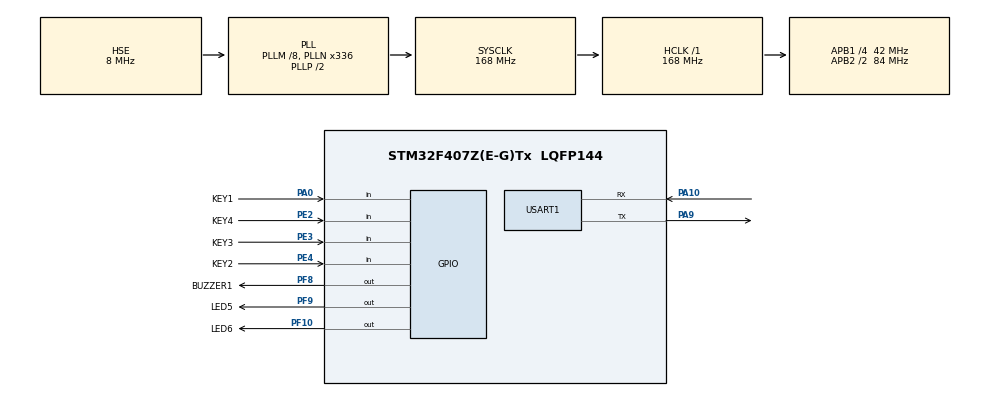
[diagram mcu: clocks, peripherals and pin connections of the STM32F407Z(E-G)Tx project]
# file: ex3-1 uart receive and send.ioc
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Mcu.Family=STM32F4
Mcu.Name=STM32F407Z(E-G)Tx
Mcu.Package=LQFP144
NVIC.PriorityGroup=NVIC_PRIORITYGROUP_4
PA0-WKUP.GPIO_Label=KEY1
PA0-WKUP.Signal=GPIO_Input
PA10.GPIO_Speed=GPIO_SPEED_FREQ_LOW
PA10.Mode=Asynchronous
PA10.Signal=USART1_RX
PA9.GPIO_Speed=GPIO_SPEED_FREQ_LOW
PA9.Mode=Asynchronous
PA9.Signal=USART1_TX
PC14-OSC32_IN.Mode=LSE-External-Oscillator
PC14-OSC32_IN.Signal=RCC_OSC32_IN
PC15-OSC32_OUT.Mode=LSE-External-Oscillator
PC15-OSC32_OUT.Signal=RCC_OSC32_OUT
PE2.GPIO_Label=KEY4
PE2.Signal=GPIO_Input
PE3.GPIO_Label=KEY3
PE3.Signal=GPIO_Input
PE4.GPIO_Label=KEY2
PE4.Signal=GPIO_Input
PF10.GPIO_Label=LED6
PF10.PinState=GPIO_PIN_SET
PF10.Signal=GPIO_Output
PF8.GPIO_Label=BUZZER1
PF8.PinState=GPIO_PIN_RESET
PF8.Signal=GPIO_Output
PF9.GPIO_Label=LED5
PF9.PinState=GPIO_PIN_SET
PF9.Signal=GPIO_Output
PH0-OSC_IN.Mode=HSE-External-Oscillator
PH0-OSC_IN.Signal=RCC_OSC_IN
PH1-OSC_OUT.Mode=HSE-External-Oscillator
PH1-OSC_OUT.Signal=RCC_OSC_OUT
ProjectManager.HeapSize=0x200
ProjectManager.StackSize=0x400
ProjectManager.TargetToolchain=MDK-ARM V5
RCC.48MHZClocksFreq_Value=84000000
RCC.AHBFreq_Value=168000000
RCC.APB1CLKDivider=RCC_HCLK_DIV4
RCC.APB1Freq_Value=42000000
RCC.APB1TimFreq_Value=84000000
RCC.APB2CLKDivider=RCC_HCLK_DIV2
RCC.APB2Freq_Value=84000000
RCC.APB2TimFreq_Value=168000000
RCC.CortexFreq_Value=21000000
RCC.Cortex_Div=SYSTICK_CLKSOURCE_HCLK_DIV8
RCC.FLatency=FLASH_LATENCY_5
RCC.HCLKFreq_Value=168000000
RCC.HSE_VALUE=8000000
RCC.HSI_VALUE=16000000
RCC.PLLM=8
RCC.PLLN=336
RCC.PLLSourceVirtual=RCC_PLLSOURCE_HSE
RCC.SYSCLKFreq_VALUE=168000000
RCC.SYSCLKSource=RCC_SYSCLKSOURCE_PLLCLK
RCC.VCOOutputFreq_Value=336000000
board=ex3-1 uart receive and send

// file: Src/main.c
/**
  ******************************************************************************
  * File Name          : main.c
  * Description        : Main program body
  ******************************************************************************
  *
  * COPYRIGHT(c) 2016 STMicroelectronics
  *
  * Redistribution and use in source and binary forms, with or without modification,
  * are permitted provided that the following conditions are met:
  *   1. Redistributions of source code must retain the above copyright notice,
  *      this list of conditions and the following disclaimer.
  *   2. Redistributions in binary form must reproduce the above copyright notice,
  *      this list of conditions and the following disclaimer in the documentation
  *      and/or other materials provided with the distribution.
  *   3. Neither the name of STMicroelectronics nor the names of its contributors
  *      may be used to endorse or promote products derived from this software
  *      without specific prior written permission.
  *
  * THIS SOFTWARE IS PROVIDED BY THE COPYRIGHT HOLDERS AND CONTRIBUTORS "AS IS"
  * AND ANY EXPRESS OR IMPLIED WARRANTIES, INCLUDING, BUT NOT LIMITED TO, THE
  * IMPLIED WARRANTIES OF MERCHANTABILITY AND FITNESS FOR A PARTICULAR PURPOSE ARE
  * DISCLAIMED. IN NO EVENT SHALL THE COPYRIGHT HOLDER OR CONTRIBUTORS BE LIABLE
  * FOR ANY DIRECT, INDIRECT, INCIDENTAL, SPECIAL, EXEMPLARY, OR CONSEQUENTIAL
  * DAMAGES (INCLUDING, BUT NOT LIMITED TO, PROCUREMENT OF SUBSTITUTE GOODS OR
  * SERVICES; LOSS OF USE, DATA, OR PROFITS; OR BUSINESS INTERRUPTION) HOWEVER
  * CAUSED AND ON ANY THEORY OF LIABILITY, WHETHER IN CONTRACT, STRICT LIABILITY,
  * OR TORT (INCLUDING NEGLIGENCE OR OTHERWISE) ARISING IN ANY WAY OUT OF THE USE
  * OF THIS SOFTWARE, EVEN IF ADVISED OF THE POSSIBILITY OF SUCH DAMAGE.
  *
  ******************************************************************************
  */
#include "main.h"
#include "stm32f4xx_hal.h"
#include "usart.h"
#include "gpio.h"

/* USER CODE BEGIN Includes */
/*****************************************************************************
@File name:
@Description: uart1接口将PC接收到的数据再通过uart发回给pc
@Author: Harry Wu
@Version: V1.2
@Date: 2016-11-15
@History:
		V1.0: 用轮询方式收发数据,按键没法起作用.
		V1.1: printf重定向到uart1,可以使用printf了.目前只能一次接收一个字符.
		V1.2: 用数组保存数据,数组设为最大接收200字节, 回发上位机时根据接收到的数据长度,来决定输出多少字节数据.

*****************************************************************************/
#include "MyTypeDef.h"
#include "key.h"
#include "led.h"
#include "usart.h"
/* USER CODE END Includes */

/* USER CODE BEGIN PV */
/* Private variables ---------------------------------------------------------*/

/* USER CODE END PV */

void SystemClock_Config(void);
void Error_Handler(void);

/* USER CODE BEGIN PFP */
/* Private function prototypes -----------------------------------------------*/

/* USER CODE END PFP */

int main(void)
{

  /* USER CODE BEGIN 1 */
	u8 key;
	#define USART_REC_LEN  			200  	//定义最大接收字节数 200
	u8 rec_data_buf[USART_REC_LEN];
	//u8 buff[10];
	//硬件初始化
  /* USER CODE END 1 */

  /* MCU Configuration----------------------------------------------------------*/

  /* Reset of all peripherals, Initializes the Flash interface and the Systick. */
  HAL_Init();

  /* Configure the system clock */
  SystemClock_Config();

  /* Initialize all configured peripherals */
  MX_GPIO_Init();
  MX_USART1_UART_Init();

  /* Infinite loop */
  /* USER CODE BEGIN WHILE */
  while (1)
  {
	key = key_scanf();
	if(key == KEY1_OK) LED5 = !LED5;
	else if(key == KEY2_OK) LED6 = !LED6;
	else if(key == KEY3_OK) BUZZER1 = !BUZZER1;

	HAL_UART_StateTypeDef huart1_state;
	while(__HAL_UART_GET_FLAG(&huart1, UART_FLAG_RXNE)==RESET);  //等待收到数据
	//while(USART_GetFlagStatus(USART1,USART_FLAG_RXNE)==RESET);   //等待收到数据
	HAL_UART_Receive(&huart1,rec_data_buf,USART_REC_LEN,100);  //收到的数据放到rec_data中

	//rec_data=USART_ReceiveData (USART1); //读取数据
	while(__HAL_UART_GET_FLAG(&huart1, UART_FLAG_TC)==RESET);  //等待上次发送完毕
	//while(USART_GetFlagStatus(USART1,USART_FLAG_TXE)==RESET); //等待上次发送完毕
	//printf("\r\nThe message you send is:\r\n");
	printf("\r\n您发送的消息为:\r\n");
	HAL_UART_Transmit(&huart1,rec_data_buf,huart1.RxXferSize-huart1.RxXferCount-1,100);      //发送数据, huart1.RxXferSize-huart1.RxXferCount-1, 根据接收到的数据长度,来决定输出多少字节数据

  /* USER CODE END WHILE */

  }

}

/** System Clock Configuration
*/
void SystemClock_Config(void)
{

  RCC_OscInitTypeDef RCC_OscInitStruct;
  RCC_ClkInitTypeDef RCC_ClkInitStruct;

    /**Configure the main internal regulator output voltage
    */
  __HAL_RCC_PWR_CLK_ENABLE();

  __HAL_PWR_VOLTAGESCALING_CONFIG(PWR_REGULATOR_VOLTAGE_SCALE1);

    /**Initializes the CPU, AHB and APB busses clocks
    */
  RCC_OscInitStruct.OscillatorType = RCC_OSCILLATORTYPE_HSE;
  RCC_OscInitStruct.HSEState = RCC_HSE_ON;
  RCC_OscInitStruct.PLL.PLLState = RCC_PLL_ON;
  RCC_OscInitStruct.PLL.PLLSource = RCC_PLLSOURCE_HSE;
  RCC_OscInitStruct.PLL.PLLM = 8;
  RCC_OscInitStruct.PLL.PLLN = 336;
  RCC_OscInitStruct.PLL.PLLP = RCC_PLLP_DIV2;
  RCC_OscInitStruct.PLL.PLLQ = 4;
  if (HAL_RCC_OscConfig(&RCC_OscInitStruct) != HAL_OK)
  {
    Error_Handler();
  }

    /**Initializes the CPU, AHB and APB busses clocks
    */
  RCC_ClkInitStruct.ClockType = RCC_CLOCKTYPE_HCLK|RCC_CLOCKTYPE_SYSCLK
                              |RCC_CLOCKTYPE_PCLK1|RCC_CLOCKTYPE_PCLK2;
  RCC_ClkInitStruct.SYSCLKSource = RCC_SYSCLKSOURCE_PLLCLK;
  RCC_ClkInitStruct.AHBCLKDivider = RCC_SYSCLK_DIV1;
  RCC_ClkInitStruct.APB1CLKDivider = RCC_HCLK_DIV4;
  RCC_ClkInitStruct.APB2CLKDivider = RCC_HCLK_DIV2;

  if (HAL_RCC_ClockConfig(&RCC_ClkInitStruct, FLASH_LATENCY_5) != HAL_OK)
  {
    Error_Handler();
  }

    /**Configure the Systick interrupt time
    */
  HAL_SYSTICK_Config(HAL_RCC_GetHCLKFreq()/8000);

    /**Configure the Systick
    */
  HAL_SYSTICK_CLKSourceConfig(SYSTICK_CLKSOURCE_HCLK_DIV8);

  /* SysTick_IRQn interrupt configuration */
  HAL_NVIC_SetPriority(SysTick_IRQn, 0, 0);
}

void Error_Handler(void)
{
  while(1)
  {
  }
}

/************************ (C) COPYRIGHT STMicroelectronics *****END OF FILE****/
